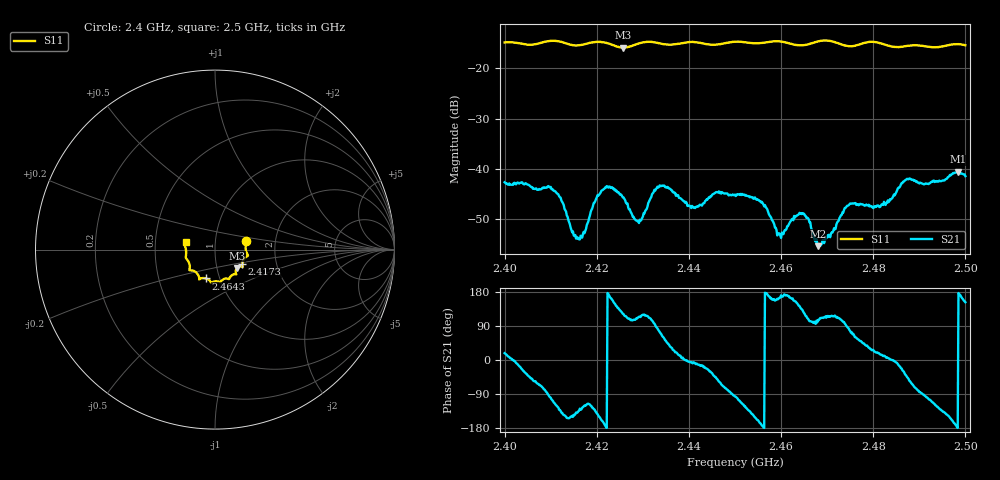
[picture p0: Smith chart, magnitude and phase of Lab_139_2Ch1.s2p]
# Hz S RI R 50
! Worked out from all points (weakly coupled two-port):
!   601 points, 2.4 GHz to 2.5 GHz, reference 50 ohm
!   highest |S21| = -40.55 dB at 2.4983 GHz (marker M1); lowest = -55.3 dB at 2.468 GHz (marker M2)
!   lowest |S11| = -15.9 dB at 2.4257 GHz (marker M3), VSWR 1.38, Z = 62.5 - j13.1 ohm
!   |S11| at or under -10 dB: start of sweep to end of sweep
!   S12 and S22 are empty: the file has one direction only
!   S11 on the Smith chart (normalised r, x): 2.4 GHz: 1.41, +0.14; 2.4173 GHz: 1.34, -0.23; 2.4643 GHz: 0.86, -0.28; 2.5 GHz: 0.72, +0.06
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2.4e9  0.1732 0.0494  0.00702 0.00229  0 0  0 0
2.41e9  0.1837 -0.0327  -0.0011 -0.00654  0 0  0 0
2.412333e9  0.1783 -0.0381  -0.00366 -0.00318  0 0  0 0
2.415e9  0.159 -0.0558  -0.00178 -0.00127  0 0  0 0
2.416667e9  0.1528 -0.0745  -0.00138 -0.00164  0 0  0 0
2.417333e9  0.1521 -0.082  -0.00115 -0.00199  0 0  0 0
2.4215e9  0.1532 -0.0955  -0.00612 -0.00153  0 0  0 0
2.425667e9  0.1227 -0.1024  -0.00275 0.00443  0 0  0 0
2.429167e9  0.116 -0.1322  -0.00119 0.00265  0 0  0 0
2.433333e9  0.1127 -0.137  0.00116 0.00642  0 0  0 0
2.441e9  0.0778 -0.1644  0.0041 -0.000423  0 0  0 0
2.45e9  0.0294 -0.1808  -0.000601 -0.00554  0 0  0 0
2.455667e9  -0.00409 -0.1774  -0.00457 -0.000869  0 0  0 0
2.459667e9  -0.023 -0.183  -0.00218 0.000625  0 0  0 0
2.464333e9  -0.0499 -0.1607  -0.00259 0.00255  0 0  0 0
2.466667e9  -0.0759 -0.1596  -0.000465 0.00242  0 0  0 0
2.468e9  -0.0848 -0.164  -0.000468 0.00165  0 0  0 0
2.474667e9  -0.103 -0.1293  0.000491 0.00433  0 0  0 0
2.483333e9  -0.1406 -0.09  0.00466 0.000372  0 0  0 0
2.487333e9  -0.1572 -0.0545  0.00567 -0.00561  0 0  0 0
2.498333e9  -0.1702 0.0328  -0.00938 -0.000112  0 0  0 0
2.5e9  -0.1636 0.042  -0.00752 0.00392  0 0  0 0
